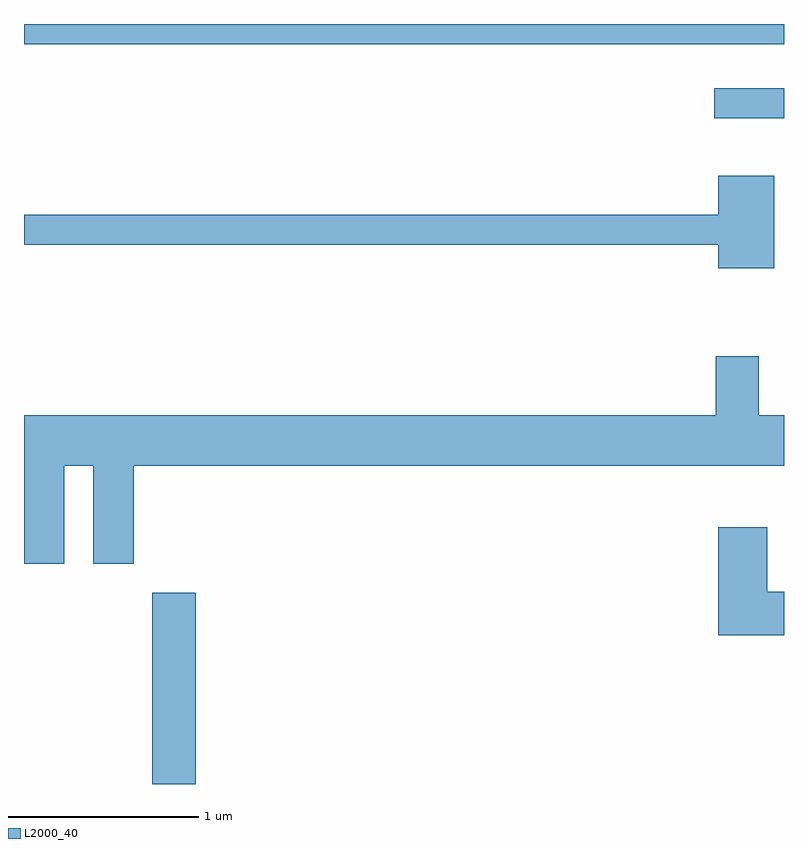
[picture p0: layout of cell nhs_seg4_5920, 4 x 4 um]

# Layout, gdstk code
import gdstk
lib = gdstk.Library(unit=1e-6, precision=1e-09)
def R(c, l, rs):  # rectangles x0, y0, x1, y1
    for r in rs: c.add(gdstk.rectangle(r[:2], r[2:], *l))
def P(c, l, *ps):  # polygons
    for p in ps: c.add(gdstk.Polygon(p, *l))
L2000_40 = (2000, 40)

nhs_seg4_5920 = lib.new_cell('nhs_seg4_5920')
R(nhs_seg4_5920, L2000_40, [(360.286,1261.982,360.514,1262.989), (363.243,1265.486,363.611,1265.644), (359.611,1265.876,363.611,1265.982)])
P(nhs_seg4_5920, L2000_40, [(363.559,1265.184),(363.266,1265.184),(363.266,1264.979),(359.611,1264.979),(359.611,1264.821),(363.266,1264.821),(363.266,1264.696),(363.559,1264.696)],
  [(359.824,1263.656),(359.976,1263.656),(359.976,1263.141),(360.189,1263.141),(360.189,1263.656),(363.611,1263.656),(363.611,1263.924),(363.479,1263.924),(363.479,1264.234),(363.251,1264.234),(363.251,1263.924),(359.611,1263.924),(359.611,1263.141),(359.824,1263.141)],
  [(363.611,1262.994),(363.524,1262.994),(363.524,1263.334),(363.266,1263.334),(363.266,1262.766),(363.611,1262.766)])

lib.write_gds('nhs_seg4_5920.gds')
